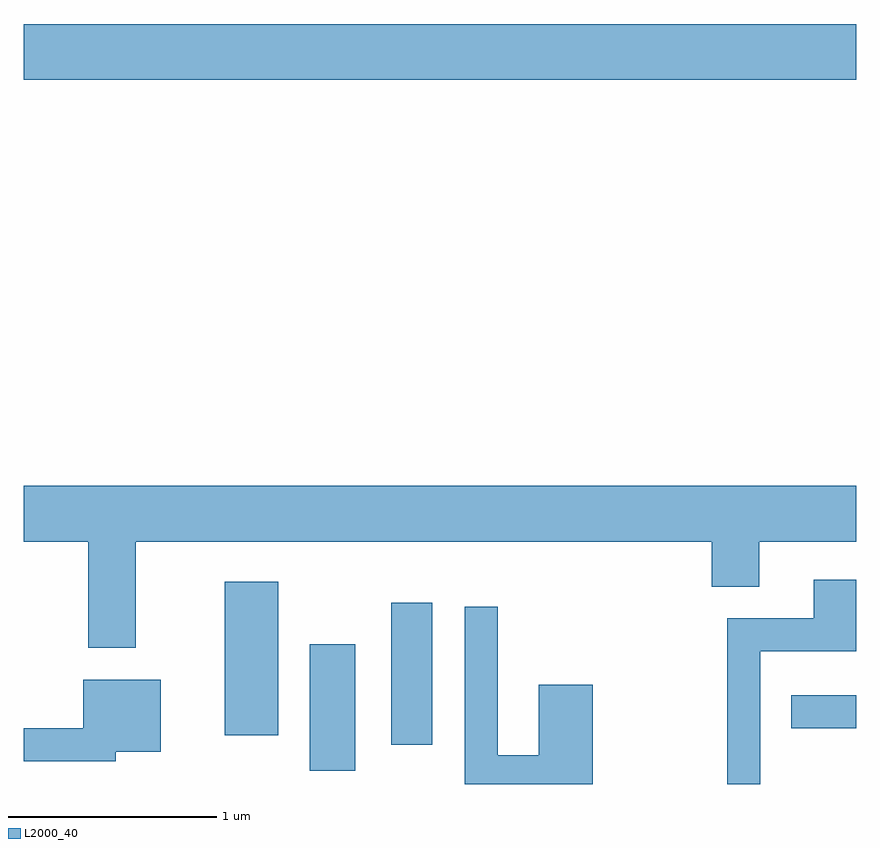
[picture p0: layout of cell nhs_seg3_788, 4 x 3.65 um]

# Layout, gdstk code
import gdstk
lib = gdstk.Library(unit=1e-6, precision=1e-09)
def R(c, l, rs):  # rectangles x0, y0, x1, y1
    for r in rs: c.add(gdstk.rectangle(r[:2], r[2:], *l))
def P(c, l, *ps):  # polygons
    for p in ps: c.add(gdstk.Polygon(p, *l))
L2000_40 = (2000, 40)

nhs_seg3_788 = lib.new_cell('nhs_seg3_788')
R(nhs_seg3_788, L2000_40, [(208.986,1195.956,209.204,1196.564), (209.376,1196.081,209.574,1196.764), (208.576,1196.126,208.834,1196.864), (211.298,1196.161,211.611,1196.319), (207.611,1199.276,211.611,1199.544)])
P(nhs_seg3_788, L2000_40, [(208.149,1197.056),(210.916,1197.056),(210.916,1196.841),(211.144,1196.841),(211.144,1197.056),(211.611,1197.056),(211.611,1197.324),(207.611,1197.324),(207.611,1197.056),(207.921,1197.056),(207.921,1196.546),(208.149,1196.546)],
  [(211.149,1196.531),(211.611,1196.531),(211.611,1196.874),(211.406,1196.874),(211.406,1196.689),(210.991,1196.689),(210.991,1195.892),(211.149,1195.892)],
  [(210.344,1196.369),(210.086,1196.369),(210.086,1196.029),(209.889,1196.029),(209.889,1196.743),(209.731,1196.743),(209.731,1195.892),(210.344,1195.892)],
  [(208.054,1196.046),(208.269,1196.046),(208.269,1196.394),(207.896,1196.394),(207.896,1196.159),(207.611,1196.159),(207.611,1196.001),(208.054,1196.001)])

lib.write_gds('nhs_seg3_788.gds')
